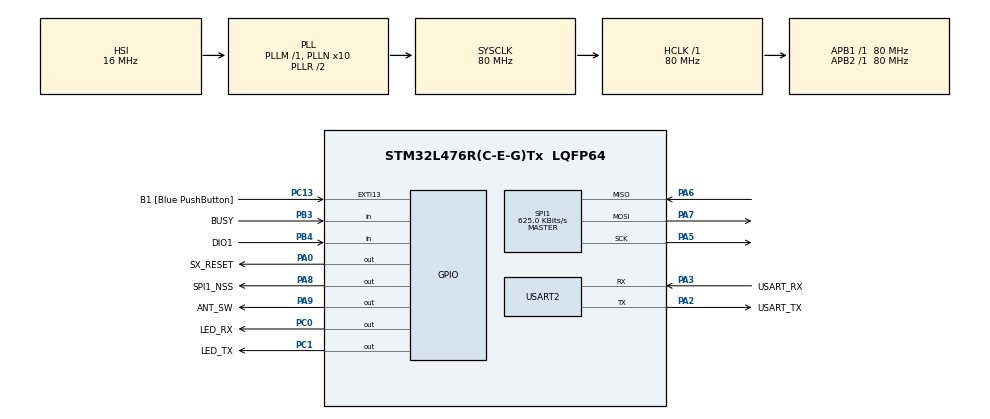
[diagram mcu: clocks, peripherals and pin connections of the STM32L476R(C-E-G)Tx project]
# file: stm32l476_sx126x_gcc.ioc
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Mcu.Family=STM32L4
Mcu.Name=STM32L476R(C-E-G)Tx
Mcu.Package=LQFP64
NVIC.EXTI15_10_IRQn=true\:0\:0\:false\:false\:true\:true\:true
NVIC.PriorityGroup=NVIC_PRIORITYGROUP_4
NVIC.RTC_Alarm_IRQn=true\:1\:0\:true\:false\:true\:true\:true
PA0.GPIO_Label=SX_RESET
PA0.Signal=GPIO_Output
PA13\ (JTMS-SWDIO).GPIO_Label=TMS
PA13\ (JTMS-SWDIO).Mode=Serial_Wire
PA13\ (JTMS-SWDIO).Signal=SYS_JTMS-SWDIO
PA14\ (JTCK-SWCLK).GPIO_Label=TCK
PA14\ (JTCK-SWCLK).Mode=Serial_Wire
PA14\ (JTCK-SWCLK).Signal=SYS_JTCK-SWCLK
PA2.GPIO_Label=USART_TX
PA2.GPIO_Mode=GPIO_MODE_AF_PP
PA2.GPIO_PuPd=GPIO_NOPULL
PA2.GPIO_Speed=GPIO_SPEED_FREQ_VERY_HIGH
PA2.Mode=Asynchronous
PA2.Signal=USART2_TX
PA3.GPIO_Label=USART_RX
PA3.GPIO_Mode=GPIO_MODE_AF_PP
PA3.GPIO_PuPd=GPIO_PULLUP
PA3.GPIO_Speed=GPIO_SPEED_FREQ_VERY_HIGH
PA3.Mode=Asynchronous
PA3.Signal=USART2_RX
PA5.Mode=Full_Duplex_Master
PA5.Signal=SPI1_SCK
PA6.Mode=Full_Duplex_Master
PA6.Signal=SPI1_MISO
PA7.Mode=Full_Duplex_Master
PA7.Signal=SPI1_MOSI
PA8.GPIO_Label=SPI1_NSS
PA8.PinState=GPIO_PIN_SET
PA8.Signal=GPIO_Output
PA9.GPIO_Label=ANT_SW
PA9.Signal=GPIO_Output
PB3\ (JTDO-TRACESWO).GPIO_Label=BUSY
PB3\ (JTDO-TRACESWO).GPIO_PuPd=GPIO_PULLUP
PB3\ (JTDO-TRACESWO).Signal=GPIO_Input
PB4\ (NJTRST).GPIO_Label=DIO1
PB4\ (NJTRST).GPIO_PuPd=GPIO_PULLUP
PB4\ (NJTRST).Signal=GPIO_Input
PC0.GPIO_Label=LED_RX
PC0.Signal=GPIO_Output
PC1.GPIO_Label=LED_TX
PC1.Signal=GPIO_Output
PC13.GPIO_Label=B1 [Blue PushButton]
PC13.GPIO_ModeDefaultEXTI=GPIO_MODE_IT_FALLING
PC13.GPIO_PuPd=GPIO_NOPULL
PC13.Signal=GPXTI13
PC14-OSC32_IN\ (PC14).Mode=LSE-External-Oscillator
PC14-OSC32_IN\ (PC14).Signal=RCC_OSC32_IN
PC15-OSC32_OUT\ (PC15).Mode=LSE-External-Oscillator
PC15-OSC32_OUT\ (PC15).Signal=RCC_OSC32_OUT
ProjectManager.HeapSize=0x200
ProjectManager.StackSize=0x400
ProjectManager.TargetToolchain=Makefile
RCC.ADCFreq_Value=64000000
RCC.AHBFreq_Value=80000000
RCC.APB1Freq_Value=80000000
RCC.APB1TimFreq_Value=80000000
RCC.APB2Freq_Value=80000000
RCC.APB2TimFreq_Value=80000000
RCC.CortexFreq_Value=80000000
RCC.HCLKFreq_Value=80000000
RCC.HSE_VALUE=8000000
RCC.HSI_VALUE=16000000
RCC.MSI_VALUE=4000000
RCC.PLLN=10
RCC.PLLSourceVirtual=RCC_PLLSOURCE_HSI
RCC.PREFETCH_ENABLE=1
RCC.SYSCLKFreq_VALUE=80000000
RCC.SYSCLKSource=RCC_SYSCLKSOURCE_PLLCLK
RCC.USBFreq_Value=64000000
RCC.VCOOutputFreq_Value=160000000
RTC.Alarm-Alarm\ A=RTC_ALARM_A
RTC.AsynchPrediv=31
RTC.Format=RTC_FORMAT_BIN
RTC.SynchPrediv=1023
SPI1.BaudRatePrescaler=SPI_BAUDRATEPRESCALER_128
SPI1.CLKPhase=SPI_PHASE_2EDGE
SPI1.CalculateBaudRate=625.0 KBits/s
SPI1.DataSize=SPI_DATASIZE_8BIT
SPI1.Direction=SPI_DIRECTION_2LINES
SPI1.Mode=SPI_MODE_MASTER
SPI1.VirtualType=VM_MASTER
USART2.VirtualMode-Asynchronous=VM_ASYNC
VP_RTC_VS_RTC_Activate.Mode=RTC_Enabled
VP_RTC_VS_RTC_Alarm_A_Intern.Mode=Alarm A
VP_RTC_VS_RTC_Calendar.Mode=RTC_Calendar
board=NUCLEO-L476RG

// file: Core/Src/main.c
/* USER CODE BEGIN Header */
/**
  ******************************************************************************
  * @file           : main.c
  * @brief          : Main program body
  ******************************************************************************
  * @attention
  *
  * <h2><center>&copy; Copyright (c) 2021 STMicroelectronics.
  * All rights reserved.</center></h2>
  *
  * This software component is licensed by ST under BSD 3-Clause license,
  * the "License"; You may not use this file except in compliance with the
  * License. You may obtain a copy of the License at:
  *                        opensource.org/licenses/BSD-3-Clause
  *
  ******************************************************************************
  */
/* USER CODE END Header */
#include "main.h"

/* USER CODE BEGIN Includes */
#include <stdio.h>
#include <string.h>
#include "sx126x_driver.h"
/* USER CODE END Includes */

RTC_HandleTypeDef hrtc;

SPI_HandleTypeDef hspi1;

UART_HandleTypeDef huart2;

void SystemClock_Config(void);
static void MX_GPIO_Init(void);
static void MX_SPI1_Init(void);
static void MX_USART2_UART_Init(void);
static void MX_RTC_Init(void);

/* USER CODE BEGIN 0 */
int SER_PutChar(int c)
{
  unsigned char xx;
  xx=c&0xff;
  HAL_UART_Transmit(&huart2, &xx, 1, 1000);
  return (c);
}
int _write(int fd, char *ptr, int len)
{
  int i;

  for (i = 0; i < len; i++)
    SER_PutChar(*ptr++);
  return (i);
}
/* USER CODE END 0 */

int main(void)
{

  /* MCU Configuration--------------------------------------------------------*/

  /* Reset of all peripherals, Initializes the Flash interface and the Systick. */
  HAL_Init();

  /* Configure the system clock */
  SystemClock_Config();

  /* Initialize all configured peripherals */
  MX_GPIO_Init();
  MX_SPI1_Init();
  MX_USART2_UART_Init();
  MX_RTC_Init();
  /* USER CODE BEGIN 2 */
  sx126x_init();
  // sx126x_tx_cw();
  /* USER CODE END 2 */

  /* Infinite loop */
  /* USER CODE BEGIN WHILE */
  while (1)
  {
    printf("the is gcc application\n");
    HAL_Delay(200);
    sx126x_test();
    /* USER CODE END WHILE */

  }
}

void SystemClock_Config(void)
{
  RCC_OscInitTypeDef RCC_OscInitStruct = {0};
  RCC_ClkInitTypeDef RCC_ClkInitStruct = {0};
  RCC_PeriphCLKInitTypeDef PeriphClkInit = {0};

  /** Initializes the RCC Oscillators according to the specified parameters
  * in the RCC_OscInitTypeDef structure.
  */
  RCC_OscInitStruct.OscillatorType = RCC_OSCILLATORTYPE_HSI|RCC_OSCILLATORTYPE_LSI;
  RCC_OscInitStruct.HSIState = RCC_HSI_ON;
  RCC_OscInitStruct.HSICalibrationValue = RCC_HSICALIBRATION_DEFAULT;
  RCC_OscInitStruct.LSIState = RCC_LSI_ON;
  RCC_OscInitStruct.PLL.PLLState = RCC_PLL_ON;
  RCC_OscInitStruct.PLL.PLLSource = RCC_PLLSOURCE_HSI;
  RCC_OscInitStruct.PLL.PLLM = 1;
  RCC_OscInitStruct.PLL.PLLN = 10;
  RCC_OscInitStruct.PLL.PLLP = RCC_PLLP_DIV7;
  RCC_OscInitStruct.PLL.PLLQ = RCC_PLLQ_DIV2;
  RCC_OscInitStruct.PLL.PLLR = RCC_PLLR_DIV2;
  if (HAL_RCC_OscConfig(&RCC_OscInitStruct) != HAL_OK)
  {
    Error_Handler();
  }
  /** Initializes the CPU, AHB and APB buses clocks
  */
  RCC_ClkInitStruct.ClockType = RCC_CLOCKTYPE_HCLK|RCC_CLOCKTYPE_SYSCLK
                              |RCC_CLOCKTYPE_PCLK1|RCC_CLOCKTYPE_PCLK2;
  RCC_ClkInitStruct.SYSCLKSource = RCC_SYSCLKSOURCE_PLLCLK;
  RCC_ClkInitStruct.AHBCLKDivider = RCC_SYSCLK_DIV1;
  RCC_ClkInitStruct.APB1CLKDivider = RCC_HCLK_DIV1;
  RCC_ClkInitStruct.APB2CLKDivider = RCC_HCLK_DIV1;

  if (HAL_RCC_ClockConfig(&RCC_ClkInitStruct, FLASH_LATENCY_4) != HAL_OK)
  {
    Error_Handler();
  }
  PeriphClkInit.PeriphClockSelection = RCC_PERIPHCLK_RTC|RCC_PERIPHCLK_USART2;
  PeriphClkInit.Usart2ClockSelection = RCC_USART2CLKSOURCE_PCLK1;
  PeriphClkInit.RTCClockSelection = RCC_RTCCLKSOURCE_LSI;
  if (HAL_RCCEx_PeriphCLKConfig(&PeriphClkInit) != HAL_OK)
  {
    Error_Handler();
  }
  /** Configure the main internal regulator output voltage
  */
  if (HAL_PWREx_ControlVoltageScaling(PWR_REGULATOR_VOLTAGE_SCALE1) != HAL_OK)
  {
    Error_Handler();
  }
}

static void MX_RTC_Init(void)
{

  RTC_TimeTypeDef sTime = {0};
  RTC_DateTypeDef sDate = {0};
  RTC_AlarmTypeDef sAlarm = {0};

  /** Initialize RTC Only
  */
  hrtc.Instance = RTC;
  hrtc.Init.HourFormat = RTC_HOURFORMAT_24;
  hrtc.Init.AsynchPrediv = 31;
  hrtc.Init.SynchPrediv = 1023;
  hrtc.Init.OutPut = RTC_OUTPUT_DISABLE;
  hrtc.Init.OutPutRemap = RTC_OUTPUT_REMAP_NONE;
  hrtc.Init.OutPutPolarity = RTC_OUTPUT_POLARITY_HIGH;
  hrtc.Init.OutPutType = RTC_OUTPUT_TYPE_OPENDRAIN;
  if (HAL_RTC_Init(&hrtc) != HAL_OK)
  {
    Error_Handler();
  }

  /** Initialize RTC and set the Time and Date
  */
  sTime.Hours = 0;
  sTime.Minutes = 0;
  sTime.Seconds = 0;
  sTime.DayLightSaving = RTC_DAYLIGHTSAVING_NONE;
  sTime.StoreOperation = RTC_STOREOPERATION_RESET;
  if (HAL_RTC_SetTime(&hrtc, &sTime, RTC_FORMAT_BIN) != HAL_OK)
  {
    Error_Handler();
  }
  sDate.WeekDay = RTC_WEEKDAY_MONDAY;
  sDate.Month = RTC_MONTH_JANUARY;
  sDate.Date = 1;
  sDate.Year = 0;

  if (HAL_RTC_SetDate(&hrtc, &sDate, RTC_FORMAT_BIN) != HAL_OK)
  {
    Error_Handler();
  }
  /** Enable the Alarm A
  */
  sAlarm.AlarmTime.Hours = 0;
  sAlarm.AlarmTime.Minutes = 0;
  sAlarm.AlarmTime.Seconds = 0;
  sAlarm.AlarmTime.SubSeconds = 0;
  sAlarm.AlarmTime.DayLightSaving = RTC_DAYLIGHTSAVING_NONE;
  sAlarm.AlarmTime.StoreOperation = RTC_STOREOPERATION_RESET;
  sAlarm.AlarmMask = RTC_ALARMMASK_NONE;
  sAlarm.AlarmSubSecondMask = RTC_ALARMSUBSECONDMASK_ALL;
  sAlarm.AlarmDateWeekDaySel = RTC_ALARMDATEWEEKDAYSEL_DATE;
  sAlarm.AlarmDateWeekDay = 1;
  sAlarm.Alarm = RTC_ALARM_A;
  if (HAL_RTC_SetAlarm_IT(&hrtc, &sAlarm, RTC_FORMAT_BIN) != HAL_OK)
  {
    Error_Handler();
  }

}

static void MX_SPI1_Init(void)
{

  /* SPI1 parameter configuration*/
  hspi1.Instance = SPI1;
  hspi1.Init.Mode = SPI_MODE_MASTER;
  hspi1.Init.Direction = SPI_DIRECTION_2LINES;
  hspi1.Init.DataSize = SPI_DATASIZE_8BIT;
  hspi1.Init.CLKPolarity = SPI_POLARITY_LOW;
  hspi1.Init.CLKPhase = SPI_PHASE_2EDGE;
  hspi1.Init.NSS = SPI_NSS_SOFT;
  hspi1.Init.BaudRatePrescaler = SPI_BAUDRATEPRESCALER_128;
  hspi1.Init.FirstBit = SPI_FIRSTBIT_MSB;
  hspi1.Init.TIMode = SPI_TIMODE_DISABLE;
  hspi1.Init.CRCCalculation = SPI_CRCCALCULATION_DISABLE;
  hspi1.Init.CRCPolynomial = 7;
  hspi1.Init.CRCLength = SPI_CRC_LENGTH_DATASIZE;
  hspi1.Init.NSSPMode = SPI_NSS_PULSE_DISABLE;
  if (HAL_SPI_Init(&hspi1) != HAL_OK)
  {
    Error_Handler();
  }

}

static void MX_USART2_UART_Init(void)
{

  huart2.Instance = USART2;
  huart2.Init.BaudRate = 115200;
  huart2.Init.WordLength = UART_WORDLENGTH_8B;
  huart2.Init.StopBits = UART_STOPBITS_1;
  huart2.Init.Parity = UART_PARITY_NONE;
  huart2.Init.Mode = UART_MODE_TX_RX;
  huart2.Init.HwFlowCtl = UART_HWCONTROL_NONE;
  huart2.Init.OverSampling = UART_OVERSAMPLING_16;
  huart2.Init.OneBitSampling = UART_ONE_BIT_SAMPLE_DISABLE;
  huart2.AdvancedInit.AdvFeatureInit = UART_ADVFEATURE_NO_INIT;
  if (HAL_UART_Init(&huart2) != HAL_OK)
  {
    Error_Handler();
  }

}

static void MX_GPIO_Init(void)
{
  GPIO_InitTypeDef GPIO_InitStruct = {0};

  /* GPIO Ports Clock Enable */
  __HAL_RCC_GPIOC_CLK_ENABLE();
  __HAL_RCC_GPIOA_CLK_ENABLE();
  __HAL_RCC_GPIOB_CLK_ENABLE();

  /*Configure GPIO pin Output Level */
  HAL_GPIO_WritePin(GPIOC, LED_RX_Pin|LED_TX_Pin, GPIO_PIN_RESET);

  /*Configure GPIO pin Output Level */
  HAL_GPIO_WritePin(GPIOA, SX_RESET_Pin|ANT_SW_Pin, GPIO_PIN_RESET);

  /*Configure GPIO pin Output Level */
  HAL_GPIO_WritePin(SPI1_NSS_GPIO_Port, SPI1_NSS_Pin, GPIO_PIN_SET);

  /*Configure GPIO pin : B1_Pin */
  GPIO_InitStruct.Pin = B1_Pin;
  GPIO_InitStruct.Mode = GPIO_MODE_IT_FALLING;
  GPIO_InitStruct.Pull = GPIO_NOPULL;
  HAL_GPIO_Init(B1_GPIO_Port, &GPIO_InitStruct);

  /*Configure GPIO pins : LED_RX_Pin LED_TX_Pin */
  GPIO_InitStruct.Pin = LED_RX_Pin|LED_TX_Pin;
  GPIO_InitStruct.Mode = GPIO_MODE_OUTPUT_PP;
  GPIO_InitStruct.Pull = GPIO_NOPULL;
  GPIO_InitStruct.Speed = GPIO_SPEED_FREQ_LOW;
  HAL_GPIO_Init(GPIOC, &GPIO_InitStruct);

  /*Configure GPIO pins : SX_RESET_Pin SPI1_NSS_Pin ANT_SW_Pin */
  GPIO_InitStruct.Pin = SX_RESET_Pin|SPI1_NSS_Pin|ANT_SW_Pin;
  GPIO_InitStruct.Mode = GPIO_MODE_OUTPUT_PP;
  GPIO_InitStruct.Pull = GPIO_NOPULL;
  GPIO_InitStruct.Speed = GPIO_SPEED_FREQ_LOW;
  HAL_GPIO_Init(GPIOA, &GPIO_InitStruct);

  /*Configure GPIO pins : BUSY_Pin DIO1_Pin */
  GPIO_InitStruct.Pin = BUSY_Pin|DIO1_Pin;
  GPIO_InitStruct.Mode = GPIO_MODE_INPUT;
  GPIO_InitStruct.Pull = GPIO_PULLUP;
  HAL_GPIO_Init(GPIOB, &GPIO_InitStruct);

  /* EXTI interrupt init*/
  HAL_NVIC_SetPriority(EXTI15_10_IRQn, 0, 0);
  HAL_NVIC_EnableIRQ(EXTI15_10_IRQn);

}

void Error_Handler(void)
{
  __disable_irq();
  while (1)
  {
  }
}

/************************ (C) COPYRIGHT STMicroelectronics *****END OF FILE****/
